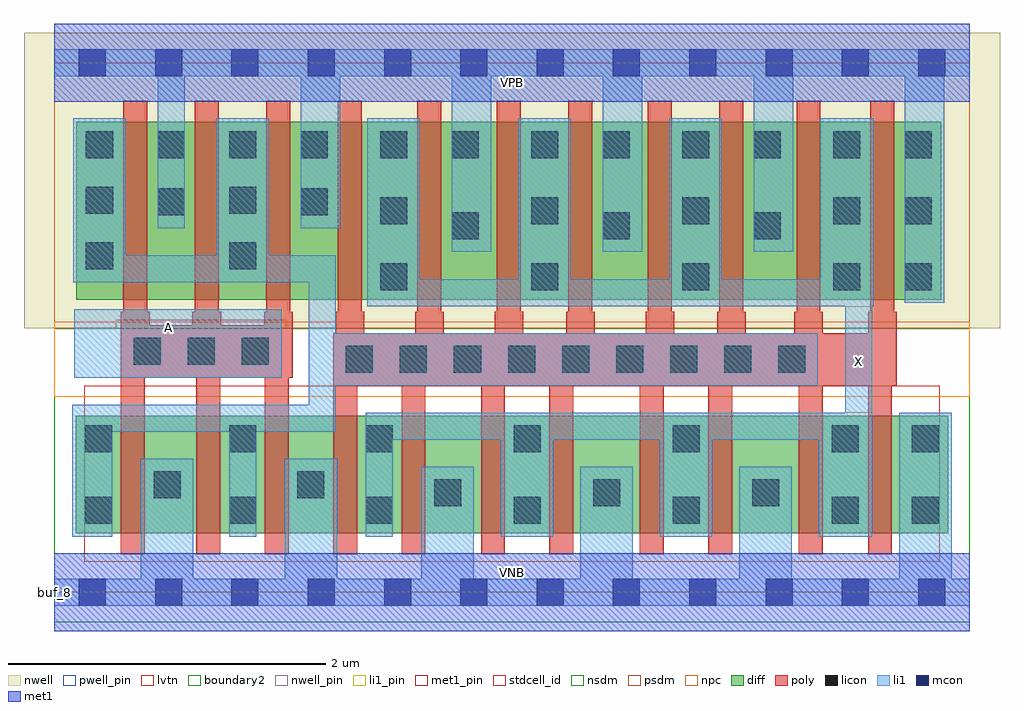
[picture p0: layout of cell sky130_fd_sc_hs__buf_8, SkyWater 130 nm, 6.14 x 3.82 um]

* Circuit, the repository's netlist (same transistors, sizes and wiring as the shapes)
* Copyright 2020 The SkyWater PDK Authors
*
* Licensed under the Apache License, Version 2.0 (the "License");
* you may not use this file except in compliance with the License.
* You may obtain a copy of the License at
*
*     https://www.apache.org/licenses/LICENSE-2.0
*
* Unless required by applicable law or agreed to in writing, software
* distributed under the License is distributed on an "AS IS" BASIS,
* WITHOUT WARRANTIES OR CONDITIONS OF ANY KIND, either express or implied.
* See the License for the specific language governing permissions and
* limitations under the License.
*
* SPDX-License-Identifier: Apache-2.0


.subckt sky130_fd_sc_hs__buf_8 A VGND VNB VPB VPWR X
X0 VPWR a_27_74# X VPB sky130_fd_pr__pfet_01v8 w=1.12 l=150000u
X1 X a_27_74# VGND VNB sky130_fd_pr__nfet_01v8_lvt w=740000u l=150000u
X2 VGND A a_27_74# VNB sky130_fd_pr__nfet_01v8_lvt w=740000u l=150000u
X3 X a_27_74# VPWR VPB sky130_fd_pr__pfet_01v8 w=1.12 l=150000u
X4 VGND a_27_74# X VNB sky130_fd_pr__nfet_01v8_lvt w=740000u l=150000u
X5 a_27_74# A VGND VNB sky130_fd_pr__nfet_01v8_lvt w=740000u l=150000u
X6 VGND a_27_74# X VNB sky130_fd_pr__nfet_01v8_lvt w=740000u l=150000u
X7 VPWR A a_27_74# VPB sky130_fd_pr__pfet_01v8 w=1.12 l=150000u
X8 X a_27_74# VPWR VPB sky130_fd_pr__pfet_01v8 w=1.12 l=150000u
X9 X a_27_74# VGND VNB sky130_fd_pr__nfet_01v8_lvt w=740000u l=150000u
X10 X a_27_74# VGND VNB sky130_fd_pr__nfet_01v8_lvt w=740000u l=150000u
X11 VPWR a_27_74# X VPB sky130_fd_pr__pfet_01v8 w=1.12 l=150000u
X12 X a_27_74# VPWR VPB sky130_fd_pr__pfet_01v8 w=1.12 l=150000u
X13 VGND a_27_74# X VNB sky130_fd_pr__nfet_01v8_lvt w=740000u l=150000u
X14 VPWR a_27_74# X VPB sky130_fd_pr__pfet_01v8 w=1.12 l=150000u
X15 X a_27_74# VPWR VPB sky130_fd_pr__pfet_01v8 w=1.12 l=150000u
X16 VGND a_27_74# X VNB sky130_fd_pr__nfet_01v8_lvt w=740000u l=150000u
X17 a_27_74# A VPWR VPB sky130_fd_pr__pfet_01v8 w=1.12 l=150000u
X18 X a_27_74# VGND VNB sky130_fd_pr__nfet_01v8_lvt w=740000u l=150000u
X19 VPWR a_27_74# X VPB sky130_fd_pr__pfet_01v8 w=1.12 l=150000u
X20 a_27_74# A VGND VNB sky130_fd_pr__nfet_01v8_lvt w=740000u l=150000u
X21 a_27_74# A VPWR VPB sky130_fd_pr__pfet_01v8 w=1.12 l=150000u
.ends

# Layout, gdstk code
import gdstk
lib = gdstk.Library(unit=1e-6, precision=1e-09)
def R(c, l, rs):  # rectangles x0, y0, x1, y1
    for r in rs: c.add(gdstk.rectangle(r[:2], r[2:], *l))
def A(c, l, x, y, w, h, nx, ny, dx, dy):  # array of equal rectangles
    R(c, l, [(x+i*dx, y+j*dy, x+i*dx+w, y+j*dy+h) for i in range(nx) for j in range(ny)])
def P(c, l, *ps):  # polygons
    for p in ps: c.add(gdstk.Polygon(p, *l))
nwell_pin = (64, 16)
nwell = (64, 20)
diff = (65, 20)
poly = (66, 20)
licon = (66, 44)
li1_pin = (67, 16)
li1 = (67, 20)
mcon = (67, 44)
met1_pin = (68, 16)
met1 = (68, 20)
stdcell_id = (81, 4)
nsdm = (93, 44)
psdm = (94, 20)
npc = (95, 20)
pwell_pin = (122, 16)
lvtn = (125, 44)
boundary2 = (236, 0)

sky130_fd_sc_hs__buf_8 = lib.new_cell('sky130_fd_sc_hs__buf_8')
R(sky130_fd_sc_hs__buf_8, nwell_pin, [(0,3.085,5.76,3.33)])
R(sky130_fd_sc_hs__buf_8, nwell, [(-0.19,1.66,5.95,3.52)])
R(sky130_fd_sc_hs__buf_8, diff, [(0.135,0.37,5.625,1.11), (0.14,1.84,5.58,2.96)])
P(sky130_fd_sc_hs__buf_8, poly, [(0.42,0.24),(0.42,1.765),(0.435,1.765),(0.435,3.09),(0.585,3.09),(0.585,1.765),(0.6,1.765),(0.6,1.68),(0.87,1.68),(0.87,1.765),(0.885,1.765),(0.885,3.09),(1.035,3.09),(1.035,1.765),(1.05,1.765),(1.05,1.68),(1.32,1.68),(1.32,1.765),(1.335,1.765),(1.335,3.09),(1.485,3.09),(1.485,1.765),(1.5,1.765),(1.5,1.35),(1.475,1.35),(1.475,0.24),(1.325,0.24),(1.325,1.35),(1.045,1.35),(1.045,0.24),(0.895,0.24),(0.895,1.35),(0.57,1.35),(0.57,0.24)],
  [(1.755,0.24),(1.755,1.63),(1.77,1.63),(1.77,1.765),(1.785,1.765),(1.785,3.09),(1.935,3.09),(1.935,1.765),(1.95,1.765),(1.95,1.63),(2.27,1.63),(2.27,1.765),(2.285,1.765),(2.285,3.09),(2.435,3.09),(2.435,1.765),(2.45,1.765),(2.45,1.63),(2.77,1.63),(2.77,1.765),(2.785,1.765),(2.785,3.09),(2.935,3.09),(2.935,1.765),(2.95,1.765),(2.95,1.63),(3.22,1.63),(3.22,1.765),(3.235,1.765),(3.235,3.09),(3.385,3.09),(3.385,1.765),(3.4,1.765),(3.4,1.63),(3.72,1.63),(3.72,1.765),(3.735,1.765),(3.735,3.09),(3.885,3.09),(3.885,1.765),(3.9,1.765),(3.9,1.63),(4.17,1.63),(4.17,1.765),(4.185,1.765),(4.185,3.09),(4.335,3.09),(4.335,1.765),(4.35,1.765),(4.35,1.63),(4.655,1.63),(4.655,1.765),(4.67,1.765),(4.67,3.09),(4.82,3.09),(4.82,1.765),(4.835,1.765),(4.835,1.63),(5.12,1.63),(5.12,1.765),(5.135,1.765),(5.135,3.09),(5.285,3.09),(5.285,1.765),(5.3,1.765),(5.3,1.3),(5.27,1.3),(5.27,0.24),(5.12,0.24),(5.12,1.3),(4.835,1.3),(4.835,0.24),(4.685,0.24),(4.685,1.3),(4.265,1.3),(4.265,0.24),(4.115,0.24),(4.115,1.3),(3.835,1.3),(3.835,0.24),(3.685,0.24),(3.685,1.3),(3.265,1.3),(3.265,0.24),(3.115,0.24),(3.115,1.3),(2.835,1.3),(2.835,0.24),(2.685,0.24),(2.685,1.3),(2.335,1.3),(2.335,0.24),(2.185,0.24),(2.185,1.3),(1.905,1.3),(1.905,0.24)])
A(sky130_fd_sc_hs__buf_8, licon, 2.89, 0.43, 0.17, 0.17, 3, 2, 1, 0.45)
A(sky130_fd_sc_hs__buf_8, licon, 2.39, 0.54, 0.17, 0.17, 3, 1, 1, 0)
A(sky130_fd_sc_hs__buf_8, licon, 1.835, 1.38, 0.17, 0.17, 9, 1, 0.34, 0)
A(sky130_fd_sc_hs__buf_8, licon, 0.5, 1.43, 0.17, 0.17, 3, 1, 0.34, 0)
A(sky130_fd_sc_hs__buf_8, licon, 2.05, 1.9, 0.17, 0.17, 4, 2, 0.95, 0.415)
A(sky130_fd_sc_hs__buf_8, licon, 5.35, 1.9, 0.17, 0.17, 1, 3, 0, 0.415)
A(sky130_fd_sc_hs__buf_8, licon, 2.5, 2.22, 0.17, 0.17, 3, 1, 0.95, 0)
A(sky130_fd_sc_hs__buf_8, licon, 0.2, 2.73, 0.17, 0.17, 4, 1, 0.45, 0)
R(sky130_fd_sc_hs__buf_8, licon, [(0.195,0.43,0.365,0.6), (1.1,0.43,1.27,0.6), (1.96,0.43,2.13,0.6), (5.395,0.43,5.565,0.6), (0.625,0.59,0.795,0.76), (1.53,0.59,1.7,0.76), (0.195,0.88,0.365,1.05), (1.1,0.88,1.27,1.05), (1.96,0.88,2.13,1.05), (5.395,0.88,5.565,1.05), (0.2,2.03,0.37,2.2), (1.1,2.03,1.27,2.2), (0.65,2.37,0.82,2.54), (1.55,2.37,1.72,2.54), (0.2,2.38,0.37,2.55), (1.1,2.38,1.27,2.55), (2.05,2.73,2.22,2.9), (2.5,2.73,2.67,2.9), (3,2.73,3.17,2.9), (3.45,2.73,3.62,2.9), (3.95,2.73,4.12,2.9), (4.4,2.73,4.57,2.9), (4.9,2.73,5.07,2.9)])
R(sky130_fd_sc_hs__buf_8, li1_pin, [(4.975,1.13,5.145,1.8), (0.125,1.35,1.43,1.78)])
R(sky130_fd_sc_hs__buf_8, li1, [(0.125,1.35,1.43,1.78)])
P(sky130_fd_sc_hs__buf_8, li1, [(0,-0.085),(0,0.085),(0.545,0.085),(0.545,0.84),(0.875,0.84),(0.875,0.085),(1.45,0.085),(1.45,0.84),(1.78,0.84),(1.78,0.085),(2.31,0.085),(2.31,0.79),(2.64,0.79),(2.64,0.085),(3.31,0.085),(3.31,0.79),(3.64,0.79),(3.64,0.085),(4.31,0.085),(4.31,0.79),(4.64,0.79),(4.64,0.085),(5.315,0.085),(5.315,1.13),(5.645,1.13),(5.645,0.085),(5.76,0.085),(5.76,-0.085)],
  [(5.35,1.82),(5.35,3.245),(4.65,3.245),(4.65,2.14),(4.4,2.14),(4.4,3.245),(3.7,3.245),(3.7,2.14),(3.45,2.14),(3.45,3.245),(2.75,3.245),(2.75,2.14),(2.5,2.14),(2.5,3.245),(1.8,3.245),(1.8,2.29),(1.55,2.29),(1.55,3.245),(0.82,3.245),(0.82,2.29),(0.65,2.29),(0.65,3.245),(0,3.245),(0,3.415),(5.76,3.415),(5.76,3.245),(5.6,3.245),(5.6,1.82)],
  [(1.96,0.35),(1.96,1.13),(4.975,1.13),(4.975,1.8),(1.97,1.8),(1.97,2.98),(2.3,2.98),(2.3,1.97),(2.92,1.97),(2.92,2.98),(3.25,2.98),(3.25,1.97),(3.87,1.97),(3.87,2.98),(4.2,2.98),(4.2,1.97),(4.82,1.97),(4.82,2.98),(5.155,2.98),(5.155,1.8),(5.145,1.8),(5.145,0.35),(4.81,0.35),(4.81,0.96),(4.14,0.96),(4.14,0.35),(3.81,0.35),(3.81,0.96),(3.14,0.96),(3.14,0.35),(2.81,0.35),(2.81,0.96),(2.13,0.96),(2.13,0.35)],
  [(0.115,0.35),(0.115,1.18),(1.6,1.18),(1.6,1.95),(0.12,1.95),(0.12,2.98),(0.45,2.98),(0.45,2.12),(1.02,2.12),(1.02,2.98),(1.35,2.98),(1.35,2.12),(1.77,2.12),(1.77,1.63),(4.805,1.63),(4.805,1.3),(1.77,1.3),(1.77,1.01),(1.27,1.01),(1.27,0.35),(1.1,0.35),(1.1,1.01),(0.365,1.01),(0.365,0.35)])
A(sky130_fd_sc_hs__buf_8, mcon, 0.155, -0.085, 0.17, 0.17, 12, 2, 0.48, 3.33)
R(sky130_fd_sc_hs__buf_8, met1_pin, [(0,-0.245,5.76,0.245), (0,3.085,5.76,3.575)])
R(sky130_fd_sc_hs__buf_8, met1, [(0,-0.245,5.76,0.245), (0,3.085,5.76,3.575)])
R(sky130_fd_sc_hs__buf_8, stdcell_id, [(0,0,5.76,3.33)])
R(sky130_fd_sc_hs__buf_8, nsdm, [(0,-0.19,5.76,1.66)])
P(sky130_fd_sc_hs__buf_8, psdm, [(0,1.66),(0,3.52),(5.76,3.52),(5.76,1.66),(1.46,1.66),(1.46,1.71),(0.39,1.71),(0.39,1.66)])
R(sky130_fd_sc_hs__buf_8, npc, [(0,1.23,5.76,1.7)])
R(sky130_fd_sc_hs__buf_8, pwell_pin, [(0,0,5.76,0.245)])
R(sky130_fd_sc_hs__buf_8, lvtn, [(0.19,0.19,5.57,1.3)])
R(sky130_fd_sc_hs__buf_8, boundary2, [(0,0,5.76,3.33)])
sky130_fd_sc_hs__buf_8.add(gdstk.Label('buf_8', (0,0), layer=83, texttype=44))
sky130_fd_sc_hs__buf_8.add(gdstk.Label('VNB', (2.88,0.123), layer=64, texttype=59))
sky130_fd_sc_hs__buf_8.add(gdstk.Label('VPB', (2.88,3.208), layer=64, texttype=5))
sky130_fd_sc_hs__buf_8.add(gdstk.Label('VPWR', (2.88,3.208), layer=68, texttype=5))
sky130_fd_sc_hs__buf_8.add(gdstk.Label('VGND', (2.88,0.123), layer=68, texttype=5))
sky130_fd_sc_hs__buf_8.add(gdstk.Label('X', (5.06,1.448), layer=67, texttype=16))
sky130_fd_sc_hs__buf_8.add(gdstk.Label('A', (0.72,1.665), layer=67, texttype=5))

lib.write_gds('sky130_fd_sc_hs__buf_8.gds')
